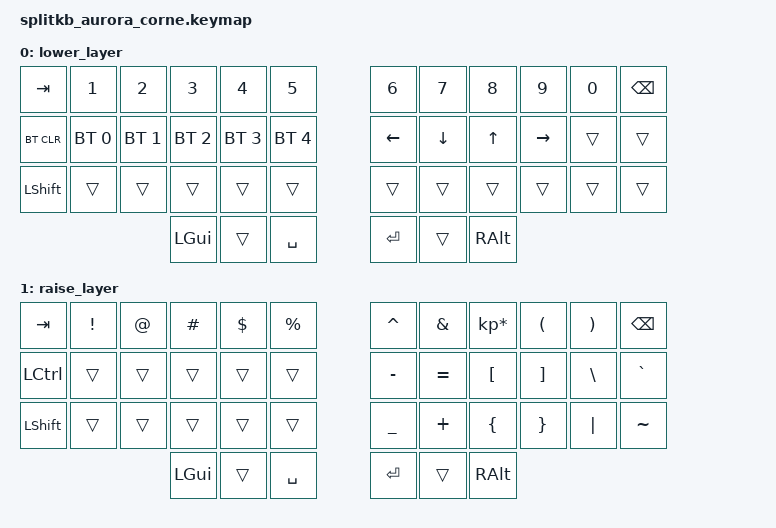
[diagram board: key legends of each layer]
/*
 * Copyright (c) 2020 The ZMK Contributors
 *
 * SPDX-License-Identifier: MIT
 */

#include <behaviors.dtsi>
#include <dt-bindings/zmk/keys.h>
#include <dt-bindings/zmk/bt.h>

/ {
        keymap {
                compatible = "zmk,keymap";

               default_layer {
// -----------------------------------------------------------------------------------------   
// | Q |  W  |  E  |  R |  T  |  Upper |   |  Upper |  Y  |  U |  I  |  O  | P |
// | Tab |  A  |  S  |  D  |  F  | Lower |   | Lower |  G  |  H  |  J  |  K  |  L  |
// | Shift |  Super  |  Z  |  X  |  C  |  Backspace  |   |  Period  |  V  |  B  |  N  |  M  | Shift |
//                    | CTRL | Enter | Space |   | Space | Enter  | ALT |
                        bindings = <
   &kp Q   &kp W &kp E &kp R &kp T &to 2   &to 2 &kp Y  &kp U     &kp I   &kp O    &kp P
   &kp TAB &kp A &kp S &kp D &kp F &to 1   &to 1 &kp G  &kp H     &kp J   &kp K &kp L
   &kp LSHFT &kp LGUI &kp Z &kp X &kp C &kp BSPC   &kp DOT &kp V  &kp B &kp N &kp M &kp LSHIFT
                  &kp LCTRL &kp RET &kp SPACE   &kp SPACE &kp RET &kp RALT
                };
                lower_layer {
// -----------------------------------------------------------------------------------------
// |  TAB |  1  |  2  |  3  |  4  |  5  |   |  6  |  7  |  8  |  9  |  0  | BKSP |
// | BTCLR| BT1 | BT2 | BT3 | BT4 | BT5 |   | LFT | DWN |  UP | RGT |     |      |
// | SHFT |     |     |     |     |     |   |     |     |     |     |     |      |
//                    | GUI |     | SPC |   | ENT |     | ALT |
                        bindings = <
   &kp TAB    &kp N1       &kp N2       &kp N3       &kp N4       &kp N5         &kp N6   &kp N7   &kp N8 &kp N9    &kp N0 &kp BSPC
   &bt BT_CLR &bt BT_SEL 0 &bt BT_SEL 1 &bt BT_SEL 2 &bt BT_SEL 3 &bt BT_SEL 4   &kp LEFT &kp DOWN &kp UP &kp RIGHT &trans &trans
   &kp LSHFT  &trans       &trans       &trans       &trans       &trans         &trans   &trans   &trans &trans    &trans &trans
                                    &kp LGUI     &trans       &kp SPACE      &kp RET  &trans   &kp RALT
                        >;
                };

                raise_layer {
// -----------------------------------------------------------------------------------------
// |  TAB |  !  |  @  |  #  |  $  |  %  |   |  ^  |  &  |  *  |  (  |  )  | BKSP |
// | CTRL |     |     |     |     |     |   |  -  |  =  |  [  |  ]  |  \  |  `   |
// | SHFT |     |     |     |     |     |   |  _  |  +  |  {  |  }  | "|" |  ~   |
//                    | GUI |     | SPC |   | ENT |     | ALT |
                        bindings = <
   &kp  TAB  &kp EXCL &kp AT &kp HASH &kp DLLR &kp PRCNT   &kp CARET &kp AMPS  &kp KP_MULTIPLY &kp LPAR &kp RPAR &kp BSPC
   &kp LCTRL &trans   &trans &trans   &trans   &trans      &kp MINUS &kp EQUAL &kp LBKT        &kp RBKT &kp BSLH &kp GRAVE
   &kp LSHFT &trans   &trans &trans   &trans   &trans      &kp UNDER &kp PLUS  &kp LBRC        &kp RBRC &kp PIPE &kp TILDE
                             &kp LGUI &trans   &kp SPACE   &kp RET   &trans    &kp RALT
                        >;
                };
        };
};

